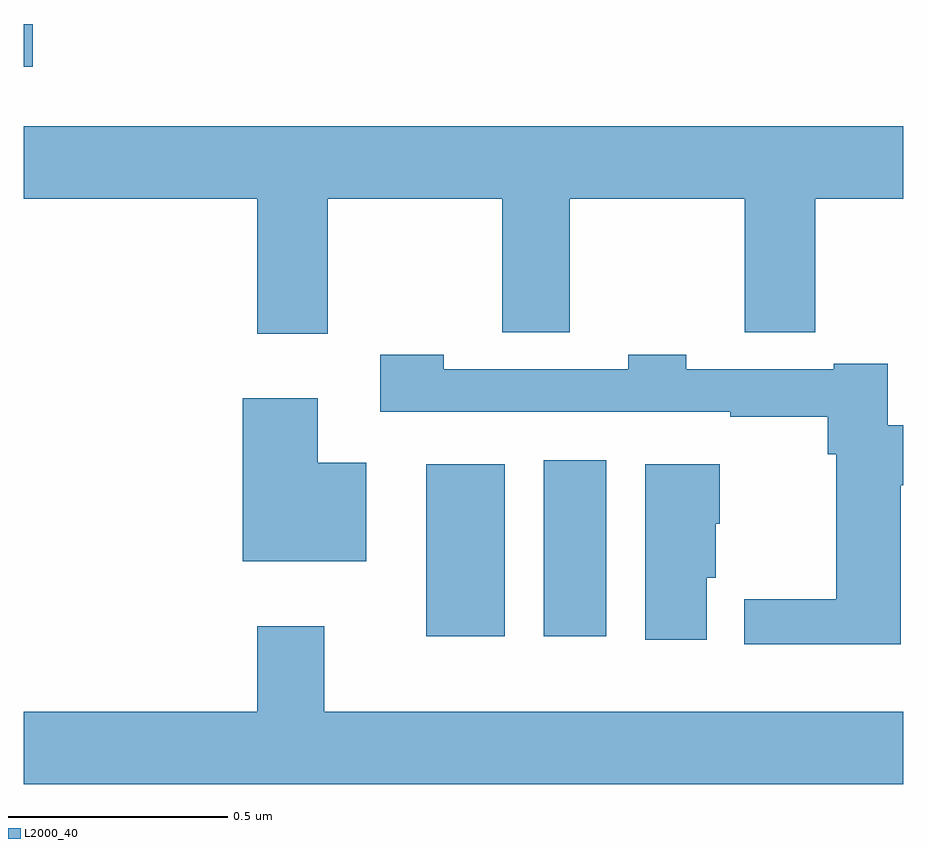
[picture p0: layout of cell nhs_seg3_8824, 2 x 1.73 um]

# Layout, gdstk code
import gdstk
lib = gdstk.Library(unit=1e-6, precision=1e-09)
def R(c, l, rs):  # rectangles x0, y0, x1, y1
    for r in rs: c.add(gdstk.rectangle(r[:2], r[2:], *l))
def P(c, l, *ps):  # polygons
    for p in ps: c.add(gdstk.Polygon(p, *l))
L2000_40 = (2000, 40)

nhs_seg3_8824 = lib.new_cell('nhs_seg3_8824')
R(nhs_seg3_8824, L2000_40, [(221.915,667.952,222.094,668.344), (222.182,667.952,222.325,668.353), (221,669.248,221.02,669.345)])
P(nhs_seg3_8824, L2000_40, [(221.691,668.948),(222.088,668.948),(222.088,668.644),(222.242,668.644),(222.242,668.948),(222.64,668.948),(222.64,668.644),(222.8,668.644),(222.8,668.948),(223,668.948),(223,669.112),(221,669.112),(221,668.948),(221.531,668.948),(221.531,668.64),(221.691,668.64)],
  [(222.995,668.296),(223,668.296),(223,668.432),(222.965,668.432),(222.965,668.572),(222.842,668.572),(222.842,668.559),(222.507,668.559),(222.507,668.592),(222.375,668.592),(222.375,668.559),(221.955,668.559),(221.955,668.592),(221.811,668.592),(221.811,668.463),(222.607,668.463),(222.607,668.451),(222.829,668.451),(222.829,668.366),(222.848,668.366),(222.848,668.036),(222.639,668.036),(222.639,667.934),(222.995,667.934)],
  [(221.779,668.347),(221.668,668.347),(221.668,668.494),(221.498,668.494),(221.498,668.123),(221.779,668.123)],
  [(222.553,668.085),(222.574,668.085),(222.574,668.208),(222.583,668.208),(222.583,668.344),(222.413,668.344),(222.413,667.944),(222.553,667.944)],
  [(223,667.78),(221.683,667.78),(221.683,667.975),(221.531,667.975),(221.531,667.78),(221,667.78),(221,667.616),(223,667.616)])

lib.write_gds('nhs_seg3_8824.gds')
